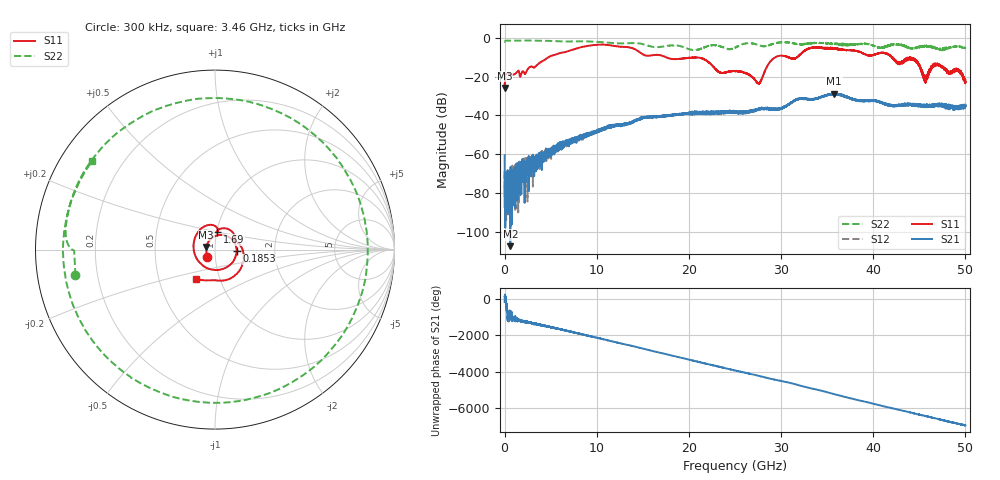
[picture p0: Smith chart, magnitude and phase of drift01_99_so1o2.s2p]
!Created with skrf (http://scikit-rf.org).
# Hz S RI R 50.0
!freq ReS11 ImS11 ReS21 ImS21 ReS12 ImS12 ReS22 ImS22
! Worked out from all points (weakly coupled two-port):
!   10001 points, 300 kHz to 50 GHz, reference 50 ohm
!   highest |S21| = -28.72 dB at 35.74 GHz (marker M1); lowest = -107.4 dB at 620.3 MHz (marker M2)
!   lowest |S11| = -25.8 dB at 5.3 MHz (marker M3), VSWR 1.11, Z = 45.3 + j1.39 ohm
!   |S11| at or under -10 dB: start of sweep to 4.768 GHz; 17.51 GHz to 29.38 GHz (11.87 GHz wide, 50.6 % of centre); 42.08 GHz to end of sweep (the widest 3 of 10)
!   |S22| runs from -6.5 to -1.4 dB; largest |S21 - S12| = 0.0046
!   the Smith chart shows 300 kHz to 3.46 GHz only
!   S11 on the Smith chart (normalised r, x): 300 kHz: 0.91, -0.08; 185.3 MHz: 1.27, -0.02; 1.69 GHz: 1.00, +0.20; 3.46 GHz: 0.77, -0.26
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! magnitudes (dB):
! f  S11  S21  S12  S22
! 300 kHz  -23.9  -60.5  -68.6  -2.0
! 5.3 MHz  -25.8  -73.2  -76.8  -2.1
! 185.3 MHz  -18.3  -73.5  -77.2  -1.4
! 620.3 MHz  -18.8  -107.4  -74.2  -1.5
! 1.69 GHz  -20.1  -66.9  -71.5  -1.4
! 3.46 GHz  -14.3  -62.8  -62.0  -1.5
! 8.335 GHz  -4.8  -52.4  -51.4  -1.8
! 16.67 GHz  -8.8  -40.4  -40.6  -4.8
! 21.2 GHz  -10.2  -38.9  -39.0  -5.8
! 23.39 GHz  -17.9  -37.9  -38.4  -4.4
! 25 GHz  -17.1  -38.6  -38.1  -5.1
! 27.59 GHz  -23.6  -37.0  -36.9  -3.8
! 29.28 GHz  -10.3  -36.6  -36.6  -2.8
! 31.45 GHz  -10.7  -32.3  -32.5  -3.0
! 33.34 GHz  -5.1  -31.7  -31.6  -2.7
! 35.74 GHz  -5.4  -28.7  -29.1  -2.9
! 41.67 GHz  -8.7  -34.4  -34.8  -4.2
! 42.74 GHz  -13.0  -35.0  -34.8  -3.3
! 44.42 GHz  -11.4  -33.9  -34.6  -5.2
! 45.65 GHz  -20.6  -35.0  -34.9  -4.4
! 46.88 GHz  -14.0  -34.8  -34.7  -5.4
! 50 GHz  -21.8  -34.8  -34.3  -5.3
